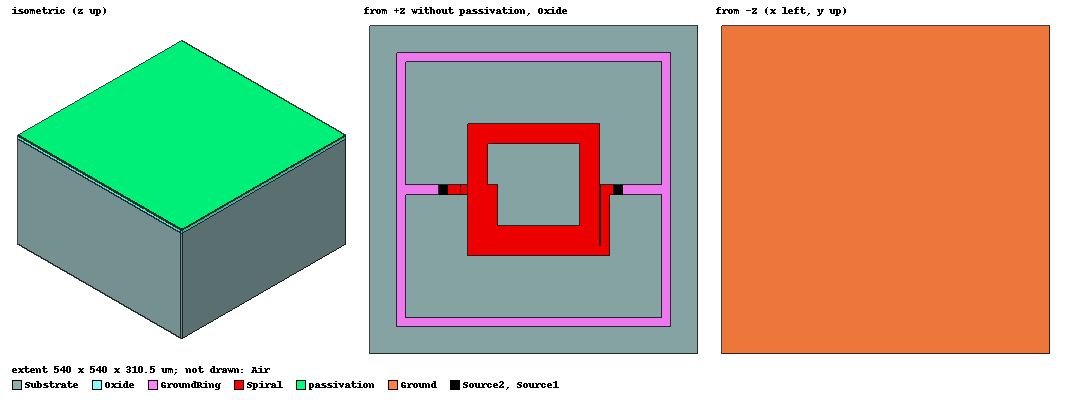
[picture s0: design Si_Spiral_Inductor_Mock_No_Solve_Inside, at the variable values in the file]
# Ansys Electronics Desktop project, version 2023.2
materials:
  vacuum: permittivity=1
  silicon_custom_spiral_ind_substrate: permittivity=11.9 conductivity=10
  silicon_dioxide: permittivity=4
  silicon_dioxide_spiral_ind_custom: permittivity=4
  passivation_spiral_ind: permittivity=7.9
  air: permittivity=1.0006 permeability=1.0000004
  spiral_ind_metal: conductivity=28000000
  pec: conductivity=1e+30

design Si_Spiral_Inductor_Mock_No_Solve_Inside (HFSS, HFSS Terminal Network, model units um)
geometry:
  Substrate [silicon_custom_spiral_ind_substrate] = box(corner=(-270um, -270um, 0um), size=(540um, 540um, 300um))
  Oxide [silicon_dioxide_spiral_ind_custom] = box(corner=(-270um, -270um, 300um), size=(540um, 540um, 9.8um))
  passivation [passivation_spiral_ind] = box(corner=(-270um, -270um, 309.8um), size=(540um, 540um, 0.7um))
  Air [air] = box(corner=(-270um, 270um, 0um), size=(540um, -540um, 600um))
  Ground [air] = object_from(Air.face(-z))
  coordinate_system RelativeCS1 = origin=(0um, 0um, 305.8um) x=(1um, 0um, 0um) y=(0um, 1um, 0um)
  Spiral [spiral_ind_metal] = polyline(z=0um, xy in um: (-67.5, 7.5) (-67.5, -67.5) (84, -67.5) (84, 84) (-84, 84) (-84, -84) (100.5, -84) (100.5, 100.5) (-100.5, 100.5) (-100.5, -100.5) (117, -100.5) (117, 0) (131, 0), section rectangle width=15um height=3um) in RelativeCS1
  Underpass = box(corner=(-60um, 7.5um, -1.8um), size=(-75um, -15um, -0.5um)) in RelativeCS1
  via1 = box(corner=(-60um, -7.5um, -1.8um), size=(-15um, 15um, 0.3um)) in RelativeCS1
  via2 = box(corner=(-135um, -7.5um, -1.8um), size=(15um, 15um, 0.8um)) in RelativeCS1
  Feed = box(corner=(-120um, -7.5um, -1um), size=(-22um, 15um, 2um)) in RelativeCS1
  Spiral.unite(Feed, Underpass, via1, via2)
  coordinate_system RelativeCS2 = origin=(0um, 0um, -1um) x=(1um, 0um, 0um) y=(0um, 1um, 0um) in RelativeCS1
  GroundRing [pec] = box(corner=(-225um, -225um, 0um), size=(450um, 450um, 2um)) in RelativeCS2
  Box1 = box(corner=(-210um, -210um, 0um), size=(420um, 420um, 2um)) in RelativeCS2
  GroundRing.subtract(Box1)
  Extension1 = box(corner=(-157um, 7.5um, 0um), size=(-53um, -15um, 2um)) in RelativeCS2
  Extension2 = box(corner=(146um, 7.5um, 0um), size=(64um, -15um, 2um)) in RelativeCS2
  Source1 [pec] = rectangle(corner=(-142um, 7.5um, 0um), x_size=-15um, y_size=-15um) in RelativeCS2
  Source2 [pec] = rectangle(corner=(131um, 7.5um, 0um), x_size=15um, y_size=-15um) in RelativeCS2
  GroundRing.unite(Extension2, Extension1)
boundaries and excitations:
  Rad1: Radiation Objects=Air
  PerfE_GND: Perfect E Objects=Ground
  Spiral_T1: Terminal port=1 Edges=Spiral.edge(at (-142, 0, 304.8)) TerminalResistance=50ohm
  Source2_T1: Terminal port=2 Edges=Source2.edge(at (131, 0, 304.8)) TerminalResistance=50ohm
  1: Lumped Port Faces=Source1.face LumpedPortType=Terminal Impedance=50ohm
  2: Lumped Port Faces=Source2.face LumpedPortType=Terminal Impedance=50ohm
  reference conductors: GroundRing
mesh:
  Length1: LengthBased RefineInside Objects=Spiral NumMaxElem=5000 MaxLength=50um
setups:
  Setup1: HfssDriven Frequency=12GHz MaxDeltaS=0.01 MaximumPasses=20 MinimumPasses=1 MinimumConvergedPasses=1 PercentRefinement=30 BasisOrder=-1 PortAccuracy=2 DrivenSolverType="Direct Solver"
    sweep Sweep: 0.1GHz to 20GHz step 0.1GHz; Type=Interpolating InterpTolerance=0.3 InterpMaxSolns=250 PassivityErrorTolerance=0.0001
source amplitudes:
  1:1: 1V 0deg
  2:1: 0V 0deg
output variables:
  L = im(1/Yt(Spiral_T1,Spiral_T1))/(2*pi*freq)
  Q_ImoverRe = im(1/Yt(Spiral_T1,Spiral_T1))/re(1/Yt(Spiral_T1,Spiral_T1))
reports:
  Terminal S Parameter Plot 1: dB(St(Spiral_T1,Spiral_T1)), dB(St(Spiral_T1,Source2_T1)) vs Freq on Setup1 : Sweep
  Output Variables Plot 1: L vs Freq on Setup1 : Sweep
  Output Variables Plot 2: Q_ImoverRe vs Freq on Setup1 : Sweep
